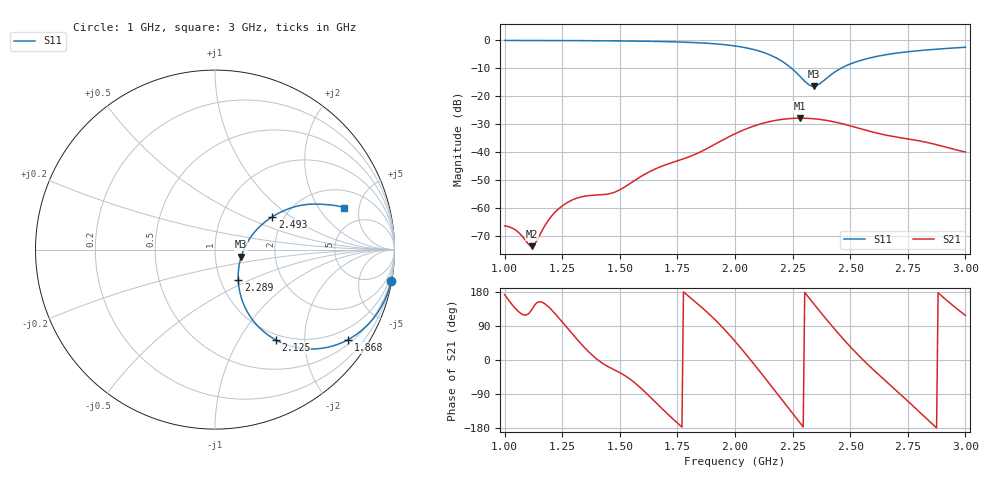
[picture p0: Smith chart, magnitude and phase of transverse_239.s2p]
! TOUCHSTONE file generated by CST MICROWAVE STUDIO
! Date and time: Tue Mar 11 13:57:58 2025
! Project name: transverse.cst
! Parameters = {Fracture=1; B=10; D=160; F=15; Feed=2.85625; L=100; M=30; R=0.384908; S=2; Theta=270; length=57.125; wave=114.25}
! Header version: 2024
! Port assignment regex: !\s*Touchstone port\s*([0-9]+)\s*=\s*(CST MWS port|CST DES external port|CST DES block port)\s*(.+)\s* \(\"(.*)\"\)(\s*mode\s*([0-9]+))?.*
! Touchstone port assignment:
! Touchstone port 1 = CST MWS port 1 ("")
! Touchstone port 2 = CST MWS port 2 ("")
# GHz S MA R 50
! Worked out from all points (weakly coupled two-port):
!   305 points, 1 GHz to 3 GHz, reference 50 ohm
!   highest |S21| = -27.81 dB at 2.283 GHz (marker M1); lowest = -73.6 dB at 1.118 GHz (marker M2)
!   lowest |S11| = -16.4 dB at 2.342 GHz (marker M3), VSWR 1.36, Z = 66.8 - j5.38 ohm
!   |S11| at or under -10 dB: 2.246 GHz to 2.459 GHz (213.8 MHz wide, 9.09 % of centre)
!   S12 and S22 are empty: the file has one direction only
!   S11 on the Smith chart (normalised r, x): 1 GHz: 0, -11; 1.868 GHz: 0.62, -3.14; 2.125 GHz: 0.92, -1.46; 2.289 GHz: 1.22, -0.43; 2.493 GHz: 1.74, +0.74; 3 GHz: 3.19, +3.47
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1  0.9976 -10.0  0.0004819 172.5  0 0.0  0 0.0
1.05263  0.997 -10.7  0.0003921 132.3  0 0.0  0 0.0
1.11842  0.996 -11.7  0.0002094 133.7  0 0.0  0 0.0
1.13158  0.9958 -11.9  0.000231 145.8  0 0.0  0 0.0
1.18421  0.9944 -12.8  0.0005614 143.7  0 0.0  0 0.0
1.22368  0.9932 -13.4  0.0008868 119.1  0 0.0  0 0.0
1.27632  0.9914 -14.3  0.001292 81.5  0 0.0  0 0.0
1.33553  0.9892 -15.5  0.001602 40.2  0 0.0  0 0.0
1.48026  0.9799 -18.8  0.001952 -27.2  0 0.0  0 0.0
1.67105  0.9568 -24.7  0.005392 -121.0  0 0.0  0 0.0
1.86842  0.8948 -34.1  0.01109 131.9  0 0.0  0 0.0
2  0.7956 -44.0  0.02141 49.5  0 0.0  0 0.0
2.125  0.6063 -56.1  0.03334 -43.5  0 0.0  0 0.0
2.21053  0.4071 -62.4  0.039 -110.1  0 0.0  0 0.0
2.28289  0.2256 -54.7  0.04068 -166.6  0 0.0  0 0.0
2.28947  0.2115 -52.3  0.04068 -171.7  0 0.0  0 0.0
2.33553  0.1517 -21.0  0.03991 153.0  0 0.0  0 0.0
2.34211  0.1511 -15.1  0.0397 148.0  0 0.0  0 0.0
2.41447  0.2399 23.8  0.03602 94.3  0 0.0  0 0.0
2.49342  0.369 29.8  0.03021 39.7  0 0.0  0 0.0
2.67105  0.5687 26.2  0.01968 -64.7  0 0.0  0 0.0
3  0.7542 18.1  0.01013 117.7  0 0.0  0 0.0
